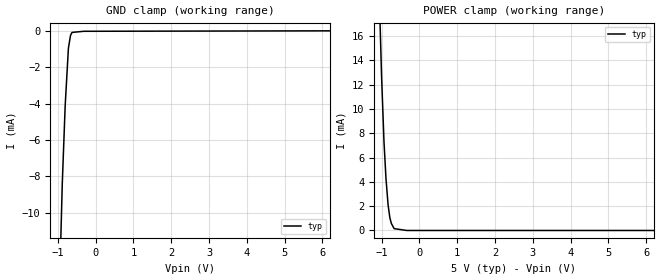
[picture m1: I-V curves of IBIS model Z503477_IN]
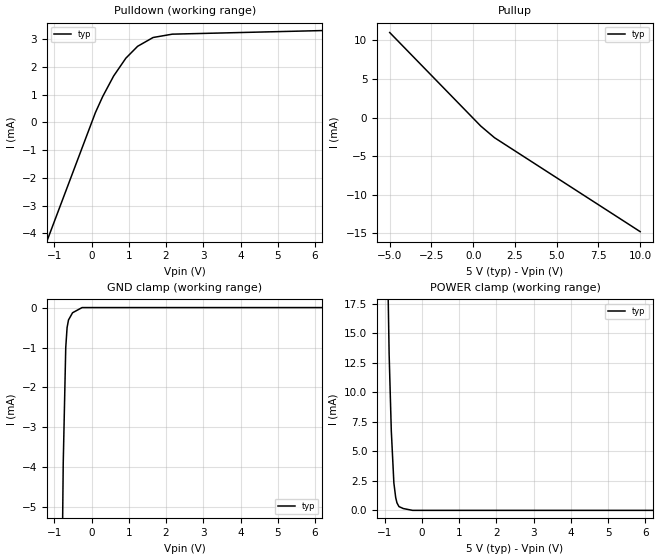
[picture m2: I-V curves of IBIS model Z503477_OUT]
| YOU ARE ONLY AUTHORIZED TO USE THIS SOFTWARE
| ACCORDING TO LICENSOR'S LICENSE RESTRICTIONS.
[IBIS Ver] 3.1
[File Name] mc14013bcp.ibs
[File Rev] 2.0
[Source] Measured and created by ICX Technology
[Date] Friday 7/14/00 9:07:51 AM
[Copyright]
| (C) COPYRIGHT 1993-2000
| MENTOR GRAPHICS CORPORATION
| ICX STANDARD LIBRARY, ICX PROJECT MODELING,
| ICX CUSTOM MODELING, ICX VENDOR MODEL
| ALL RIGHTS RESERVED.
| THE FOLLOWING ARE TRADEMARKS OR SERVICE MARKS OF
| MENTOR GRAPHICS CORPORATION:ICX (R), ICX STANDARD
| LIBRARY(R), ICX PROJECT MODELING(R), ICX CUSTOM
| MODELING(R), qualityIBIS(TM), MODELVIEWER(TM),
| AND MODELEDITOR(TM)
| ALL COPIES OF SOFTWARE, INCLUDING BUT NOT LIMITED TO
| ANY MODIFICATIONS, ENHANCEMENTS OR DERIVATIVE WORKS,
| MUST CONTAIN ALL MENTOR GRAPHICS CORPORATION'S
| NOTICES AND LEGENDS, INCLUDING THOSE EMBEDDED IN
| SOFTWARE AND THOSE AFFIXED TO SOFTWARE MEDIUM
| AND CONTAINER, AS RECEIVED FROM MENTOR GRAPHICS
| CORPORATION.
|  ZAP Model Builder 2.7
[Component] MC14013BCP
[Manufacturer] OnSemiconductor
[Package]
| variable   typ   min   max
R_pkg  .21ohms NA NA
L_pkg  4.543nH NA NA
C_pkg  1.059pF NA NA
[Pin] signal_name  model_name  R_pin  L_pin C_pin
1 QA Z503477_OUT .22 6.757n 1.432p
2 _QA Z503477_OUT .212 4.757n 1.142p
3 CA Z503477_IN .204 3.257n .852p
4 RA Z503477_IN .196 2.257n .562p
5 DA Z503477_IN .204 3.257n .852p
6 SA Z503477_IN .212 4.757n 1.142p
7 VSS GND .22 6.757n 1.432p
8 SB Z503477_IN .22 6.757n 1.432p
9 DB Z503477_IN .212 4.757n 1.142p
10 RB Z503477_IN .204 3.257n .852p
11 CB Z503477_IN .196 2.257n .562p
12 _QB Z503477_OUT .204 3.257n .852p
13 QB Z503477_OUT .212 4.757n 1.142p
14 VDD POWER .22 6.757n 1.432p
| Models and submodels in the file (2): Z503477_IN (Input), Z503477_OUT (Output)
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| (C) COPYRIGHT 1993-2000
| MENTOR GRAPHICS CORPORATION
| ICX STANDARD LIBRARY, ICX PROJECT MODELING,
| ICX CUSTOM MODELING, ICX VENDOR MODEL
| ALL RIGHTS RESERVED.
| THE FOLLOWING ARE TRADEMARKS OR SERVICE MARKS OF
| MENTOR GRAPHICS CORPORATION:ICX (R), ICX STANDARD
| LIBRARY(R), ICX PROJECT MODELING(R), ICX CUSTOM
| MODELING(R), qualityIBIS(TM), MODELVIEWER(TM),
| AND MODELEDITOR(TM)
| ALL COPIES OF SOFTWARE, INCLUDING BUT NOT LIMITED TO
| ANY MODIFICATIONS, ENHANCEMENTS OR DERIVATIVE WORKS,
| MUST CONTAIN ALL MENTOR GRAPHICS CORPORATION'S
| NOTICES AND LEGENDS, INCLUDING THOSE EMBEDDED IN
| SOFTWARE AND THOSE AFFIXED TO SOFTWARE MEDIUM
| AND CONTAINER, AS RECEIVED FROM MENTOR GRAPHICS
| CORPORATION.
| Model Application Version 1.89 2/18/99.
[Model] Z503477_IN
Model_type Input
Vinl = 1.500V
Vinh = 3.500V
C_comp 4.000pF NA NA
| variable typ   min   max
[Voltage Range] 5.000V NA NA
[GND Clamp Reference] 0.000V NA NA
[POWER Clamp Reference] 5.000V NA NA
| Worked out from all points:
|   GND clamp passes 1 mA (typ) near -0.72 V on its own axis
|   POWER clamp passes 1 mA (typ) near -0.78 V on its own axis
[GND Clamp]
-5V       -616.1mA   NA         NA
-1.166V   -35.49mA   NA         NA
-1.027V   -19.73mA   NA         NA
-883.2mV  -8.445mA   NA         NA
-805.7mV  -4.106mA   NA         NA
-720.2mV  -950.4uA   NA         NA
-664.1mV  -240.3uA   NA         NA
-625mV    -80.41uA   NA         NA
-312.5mV  -18.36uA   NA         NA
10V       21.36uA    NA         NA
[POWER Clamp]
-5V       529.1mA    NA         NA
-1.19V    33.44mA    NA         NA
-1V       12.66mA    NA         NA
-937mV    7.338mA    NA         NA
-884mV    4.283mA    NA         NA
-828mV    2.109mA    NA         NA
-781mV    1.046mA    NA         NA
-742mV    579.8uA    NA         NA
-668mV    152.9uA    NA         NA
-334mV    0A         NA         NA
10V       0A         NA         NA
| (C) COPYRIGHT 1993-2000
| MENTOR GRAPHICS CORPORATION
| ICX STANDARD LIBRARY, ICX PROJECT MODELING,
| ICX CUSTOM MODELING, ICX VENDOR MODEL
| ALL RIGHTS RESERVED.
| THE FOLLOWING ARE TRADEMARKS OR SERVICE MARKS OF
| MENTOR GRAPHICS CORPORATION:ICX (R), ICX STANDARD
| LIBRARY(R), ICX PROJECT MODELING(R), ICX CUSTOM
| MODELING(R), qualityIBIS(TM), MODELVIEWER(TM),
| AND MODELEDITOR(TM)
| ALL COPIES OF SOFTWARE, INCLUDING BUT NOT LIMITED TO
| ANY MODIFICATIONS, ENHANCEMENTS OR DERIVATIVE WORKS,
| MUST CONTAIN ALL MENTOR GRAPHICS CORPORATION'S
| NOTICES AND LEGENDS, INCLUDING THOSE EMBEDDED IN
| SOFTWARE AND THOSE AFFIXED TO SOFTWARE MEDIUM
| AND CONTAINER, AS RECEIVED FROM MENTOR GRAPHICS
| CORPORATION.
| Model Application Version 1.89 2/18/99.
[Model] Z503477_OUT
Model_type Output
Vref=0.000V
Rref=500.0Mohms
Cref=50.00pF
Vmeas=2.500V
C_comp 8.000pF NA NA
| variable typ   min   max
[Voltage Range] 5.000V NA NA
[POWER Clamp Reference] 5.000V NA NA
[Pullup Reference] 5.000V NA NA
[Pulldown Reference] 0.000V NA NA
[GND Clamp Reference] 0.000V NA NA
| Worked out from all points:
|   slope of the pulldown table from 0 to 0.75 V, typ, clamps not added: 376 ohm
|   slope of the pullup table from 0 to 0.75 V, typ, clamps not added: 484 ohm
|   GND clamp passes 1 mA (typ) near -0.69 V on its own axis
|   POWER clamp passes 1 mA (typ) near -0.70 V on its own axis
[GND Clamp]
-5V       -381mA     NA         NA
-761.5mV  -3.905mA   NA         NA
-693.8mV  -1.001mA   NA         NA
-657.9mV  -501.7uA   NA         NA
-620.2mV  -310.8uA   NA         NA
-510.6mV  -129.6uA   NA         NA
-255.3mV  0A         NA         NA
10V       0A         NA         NA
[Pulldown]
-5V       -17.8mA    NA         NA
102.8mV   351.3uA    NA         NA
297.9mV   928.7uA    NA         NA
591.9mV   1.669mA    NA         NA
920.3mV   2.312mA    NA         NA
1.237V    2.741mA    NA         NA
1.653V    3.058mA    NA         NA
2.168V    3.178mA    NA         NA
10V       3.43mA     NA         NA
[Pullup]
-5V       11.02mA    NA         NA
454mV     -1.091mA   NA         NA
1.275V    -2.595mA   NA         NA
10V       -14.76mA   NA         NA
[POWER Clamp]
-5V       788.9mA    NA         NA
-879mV    13.22mA    NA         NA
-821mV    6.748mA    NA         NA
-752mV    2.329mA    NA         NA
-703mV    1.083mA    NA         NA
-669mV    637.8uA    NA         NA
-615mV    319.7uA    NA         NA
-498mV    153.4uA    NA         NA
-249mV    0A         NA         NA
10V       0A         NA         NA
[Ramp]
| variable typ min max
dV/dt_r 2.530/10.38n NA NA
dV/dt_f 2.530/9.584n NA NA
R_load = 2.500kOhms
